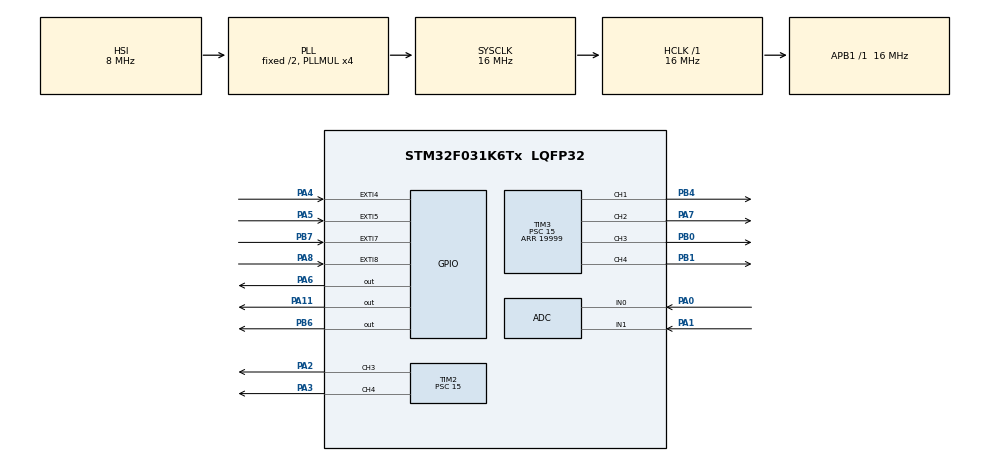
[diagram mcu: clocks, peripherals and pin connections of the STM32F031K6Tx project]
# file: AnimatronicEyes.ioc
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ADC.ContinuousConvMode=ENABLE
ADC.DMAContinuousRequests=ENABLE
ADC.EOCSelection=ADC_EOC_SEQ_CONV
ADC.SamplingTime=ADC_SAMPLETIME_239CYCLES_5
Dma.ADC.0.Direction=DMA_PERIPH_TO_MEMORY
Dma.ADC.0.Instance=DMA1_Channel1
Dma.ADC.0.MemDataAlignment=DMA_MDATAALIGN_HALFWORD
Dma.ADC.0.MemInc=DMA_MINC_ENABLE
Dma.ADC.0.Mode=DMA_CIRCULAR
Dma.ADC.0.PeriphDataAlignment=DMA_PDATAALIGN_HALFWORD
Dma.ADC.0.PeriphInc=DMA_PINC_DISABLE
Dma.ADC.0.Priority=DMA_PRIORITY_MEDIUM
Dma.Request0=ADC
Mcu.Family=STM32F0
Mcu.Name=STM32F031K6Tx
Mcu.Package=LQFP32
NVIC.ADC1_IRQn=true\:0\:0\:false\:false\:true\:true\:true\:true
NVIC.DMA1_Channel1_IRQn=true\:0\:0\:false\:false\:true\:false\:true\:true
NVIC.EXTI4_15_IRQn=true\:0\:0\:false\:false\:true\:true\:true\:true
NVIC.TIM16_IRQn=true\:0\:0\:false\:false\:true\:true\:true\:true
NVIC.TIM1_BRK_UP_TRG_COM_IRQn=true\:0\:0\:false\:false\:true\:true\:true\:true
NVIC.TIM1_CC_IRQn=true\:0\:0\:false\:false\:true\:true\:true\:true
NVIC.TIM2_IRQn=true\:0\:0\:false\:false\:true\:true\:true\:true
PA0.Signal=SharedAnalog_PA0
PA1.Signal=SharedAnalog_PA1
PA11.Signal=GPIO_Output
PA13.Mode=Serial_Wire
PA13.Signal=SYS_SWDIO
PA14.Mode=Serial_Wire
PA14.Signal=SYS_SWCLK
PA2.Signal=S_TIM2_CH3
PA3.Signal=S_TIM2_CH4
PA4.GPIO_ModeDefaultEXTI=GPIO_MODE_IT_RISING_FALLING
PA4.Signal=GPXTI4
PA5.GPIO_ModeDefaultEXTI=GPIO_MODE_IT_RISING_FALLING
PA5.Signal=GPXTI5
PA6.Signal=GPIO_Output
PA7.Signal=S_TIM3_CH2
PA8.GPIO_ModeDefaultEXTI=GPIO_MODE_IT_FALLING
PA8.GPIO_PuPd=GPIO_PULLUP
PA8.Signal=GPXTI8
PB0.Signal=S_TIM3_CH3
PB1.Signal=S_TIM3_CH4
PB4.Signal=S_TIM3_CH1
PB6.Signal=GPIO_Output
PB7.Signal=GPXTI7
PF0-OSC_IN.Mode=HSE-External-Oscillator
PF0-OSC_IN.Signal=RCC_OSC_IN
PF1-OSC_OUT.Mode=HSE-External-Oscillator
PF1-OSC_OUT.Signal=RCC_OSC_OUT
ProjectManager.HeapSize=0x200
ProjectManager.StackSize=0x400
ProjectManager.TargetToolchain=STM32CubeIDE
RCC.AHBFreq_Value=16000000
RCC.APB1Freq_Value=16000000
RCC.APB1TimFreq_Value=16000000
RCC.HCLKFreq_Value=16000000
RCC.PLLMUL=RCC_PLL_MUL4
RCC.SYSCLKFreq_VALUE=16000000
RCC.SYSCLKSource=RCC_SYSCLKSOURCE_PLLCLK
SH.S_TIM2_CH3.0=TIM2_CH3,PWM Generation3 CH3
SH.S_TIM2_CH4.0=TIM2_CH4,PWM Generation4 CH4
SH.S_TIM3_CH1.0=TIM3_CH1,PWM Generation1 CH1
SH.S_TIM3_CH2.0=TIM3_CH2,PWM Generation2 CH2
SH.S_TIM3_CH3.0=TIM3_CH3,PWM Generation3 CH3
SH.S_TIM3_CH4.0=TIM3_CH4,PWM Generation4 CH4
SH.SharedAnalog_PA0.0=GPIO_Analog
SH.SharedAnalog_PA0.1=ADC_IN0,IN0
SH.SharedAnalog_PA1.0=GPIO_Analog
SH.SharedAnalog_PA1.1=ADC_IN1,IN1
TIM1.Period=65535
TIM1.Prescaler=15
TIM14.Prescaler=15
TIM16.AutoReloadPreload=TIM_AUTORELOAD_PRELOAD_ENABLE
TIM16.Period=65535
TIM16.Prescaler=15
TIM17.AutoReloadPreload=TIM_AUTORELOAD_PRELOAD_ENABLE
TIM17.Channel=TIM_CHANNEL_1
TIM17.Period=0xffff
TIM17.Prescaler=15
TIM2.Channel-PWM\ Generation3\ CH3=TIM_CHANNEL_3
TIM2.Channel-PWM\ Generation4\ CH4=TIM_CHANNEL_4
TIM2.Period=19999
TIM2.Prescaler=15
TIM3.Channel-PWM\ Generation1\ CH1=TIM_CHANNEL_1
TIM3.Channel-PWM\ Generation2\ CH2=TIM_CHANNEL_2
TIM3.Channel-PWM\ Generation3\ CH3=TIM_CHANNEL_3
TIM3.Channel-PWM\ Generation4\ CH4=TIM_CHANNEL_4
TIM3.Period=19999
TIM3.Prescaler=15
VP_TIM14_VS_ClockSourceINT.Mode=Enable_Timer
VP_TIM16_VS_ClockSourceINT.Mode=Enable_Timer
VP_TIM17_VS_ClockSourceINT.Mode=Enable_Timer
VP_TIM1_VS_ClockSourceINT.Mode=Internal
VP_TIM2_VS_ClockSourceINT.Mode=Internal
board=custom

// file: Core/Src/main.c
/* USER CODE BEGIN Header */
/**
 ******************************************************************************
 * @file           : main.c
 * @brief          : Main program body
 ******************************************************************************
 * @attention
 *
 * Copyright (c) 2025 STMicroelectronics.
 * All rights reserved.
 *
 * This software is licensed under terms that can be found in the LICENSE file
 * in the root directory of this software component.
 * If no LICENSE file comes with this software, it is provided AS-IS.
 *
 ******************************************************************************
 */
/* USER CODE END Header */
#include "main.h"

/* USER CODE BEGIN PD */
#define TRIG1_PIN GPIO_PIN_6
#define TRIG1_PORT GPIOA
#define ECHO1_PIN GPIO_PIN_4
#define ECHO1_PORT GPIOA

#define TRIG2_PIN GPIO_PIN_7
#define TRIG2_PORT GPIOA
#define ECHO2_PIN GPIO_PIN_12
#define ECHO2_PORT GPIOA
#define SW_Pin GPIO_PIN_8

/* USER CODE END PD */

ADC_HandleTypeDef hadc;
DMA_HandleTypeDef hdma_adc;

TIM_HandleTypeDef htim1;
TIM_HandleTypeDef htim2;
TIM_HandleTypeDef htim3;
TIM_HandleTypeDef htim14;
TIM_HandleTypeDef htim16;
TIM_HandleTypeDef htim17;

/* USER CODE BEGIN PV */
volatile uint32_t start_time_1 = 0;
volatile uint32_t stop_time_1 = 0;
volatile uint8_t measurement_done_1 = 0;
float distance_cm_1 = 0;

volatile uint32_t start_time_2 = 0;
volatile uint32_t stop_time_2 = 0;
volatile uint8_t measurement_done_2 = 0;
float distance_cm_2 = 0;

typedef enum {
	STATE_RANDOM_MOVEMENT, STATE_MANUAL_CONTROL, SOLA_BAK, SAGA_BAK
} ControlState_TypeDef;

volatile ControlState_TypeDef current_state = STATE_RANDOM_MOVEMENT;

typedef struct {
	float sol;
	float sag;
} MesafeSonucu;

// ADC DMA Buffer (ADC 12-bit ise uint16_t)
#define ADC_NUM_CHANNELS 2
volatile uint16_t adc_dma_buffer[ADC_NUM_CHANNELS]; // X için [0], Y için [1]

// İşlenmiş (ham) ADC değerleri
volatile uint16_t adc_raw_x = 0; // DMA buffer'dan okunan değerler uint16_t
volatile uint16_t adc_raw_y = 0;

// Servo için hesaplanmış PWM değerleri
uint16_t pwm_x_value = 1500;
uint16_t pwm_y_value = 1500;

// Kullanıcı etkileşimi
uint32_t last_significant_user_input_time = 0;
const uint32_t IDLE_TIMEOUT_TO_RANDOM_MS = 1000;

// Değişiklik tespiti
uint16_t prev_adc_x_for_detect = 0; // ADC değerleri uint16_t olduğu için
uint16_t prev_adc_y_for_detect = 0;
const uint16_t ADC_NOISE_THRESHOLD = 200; // uint16_t ADC değerleri için eşik

volatile int joystick_pressed;

////////////////

/* USER CODE END PV */

void SystemClock_Config(void);
static void MX_GPIO_Init(void);
static void MX_DMA_Init(void);
static void MX_ADC_Init(void);
static void MX_TIM2_Init(void);
static void MX_TIM3_Init(void);
static void MX_TIM14_Init(void);
static void MX_TIM16_Init(void);
static void MX_TIM17_Init(void);
static void MX_TIM1_Init(void);

/* USER CODE BEGIN 0 */
void HAL_ADC_ConvCpltCallback(ADC_HandleTypeDef *hadc_ptr) {
	// Bu callback DMA tarafından tetiklenir (ADC->DMA ilişkisi doğru ayarlandıysa
	// ve ADC Continuous + DMA Circular modda ise)
	if (hadc_ptr->Instance == ADC1) { // ADC1 kullandığınızı varsayıyorum
		// DMA buffer'dan değerleri global değişkenlere al
		adc_raw_x = adc_dma_buffer[0]; // İlk kanal (Rank 1 - X ekseni)
		adc_raw_y = adc_dma_buffer[1]; // İkinci kanal (Rank 2 - Y ekseni)

		// Joystick'te anlamlı bir değişiklik var mı kontrol et
		// abs() için <stdlib.h> gerekir
		uint8_t x_changed = abs(
				(int16_t) adc_raw_x - (int16_t) prev_adc_x_for_detect)
				> ADC_NOISE_THRESHOLD;
		uint8_t y_changed = abs(
				(int16_t) adc_raw_y - (int16_t) prev_adc_y_for_detect)
				> ADC_NOISE_THRESHOLD;

		if (x_changed || y_changed) {
			if (x_changed) {
				prev_adc_x_for_detect = adc_raw_x;
			}
			if (y_changed) {
				prev_adc_y_for_detect = adc_raw_y;
			}

			current_state = STATE_MANUAL_CONTROL;
			last_significant_user_input_time = HAL_GetTick();
			pwm_x_value = ((adc_raw_x * 1100UL) / 4095UL) + 1300;
			if (pwm_x_value < 1300)
				pwm_x_value = 1300;
			if (pwm_x_value > 2400)
				pwm_x_value = 2400;

			// Y ekseni için PWM hesapla (1200-1500 aralığı)
			// Maksimum PWM - Minimum PWM = 1500 - 1200 = 300
			pwm_y_value = ((adc_raw_y * 550UL) / 4095UL) + 900;
			if (pwm_y_value < 900)
				pwm_y_value = 900;
			if (pwm_y_value > 1450)
				pwm_y_value = 1450;
		}
		// ADC sürekli modda ve DMA circular modda olduğu için,

	}
}

void trigger_sensor(GPIO_TypeDef *port, uint16_t pin) {
	HAL_GPIO_WritePin(port, pin, GPIO_PIN_SET);
	delay_us(10);
	HAL_GPIO_WritePin(port, pin, GPIO_PIN_RESET);
}

void delay_us(uint16_t us) {
	__HAL_TIM_SET_COUNTER(&htim1, 0);  // Sayaç sıfırla
	HAL_TIM_Base_Start(&htim1);        // Timer başlat

	while (__HAL_TIM_GET_COUNTER(&htim1) < us)
		; // Belirtilen süreyi bekle

	HAL_TIM_Base_Stop(&htim1);         // Timer durdur (isteğe bağlı)
}
void HAL_GPIO_EXTI_Callback(uint16_t GPIO_Pin) {
	static uint32_t last_interrupt_time = 0;
	uint32_t current_time = HAL_GetTick();

	if (GPIO_Pin == SW_Pin && (current_time - last_interrupt_time > 50)) // 50ms debounce
			{
		if (HAL_GPIO_ReadPin(GPIOA, SW_Pin) == GPIO_PIN_RESET) {
			joystick_pressed = 1;
		}
		last_interrupt_time = current_time;
	}

	if (GPIO_Pin == ECHO1_PIN) {
		if (HAL_GPIO_ReadPin(ECHO1_PORT, ECHO1_PIN) == GPIO_PIN_SET) {
			__HAL_TIM_SET_COUNTER(&htim17, 0);
			start_time_1 = __HAL_TIM_GET_COUNTER(&htim17);
		} else {
			stop_time_1 = __HAL_TIM_GET_COUNTER(&htim17);
			//HAL_TIM_Base_Stop(&htim17);
			measurement_done_1 = 1;
		}
	}
}

uint16_t get_random_positionX(void) {
	static const uint16_t values[] = { 1300, 1400, 1500, 1600, 1700, 1800, 1900,
			2000, 2100, 2200, 2300, 2400 };
	const uint8_t num_values = sizeof(values) / sizeof(values[0]);

	// rand() % num_values ifadesi 0 ile num_values-1 arasında sayı üretir
	uint8_t index = rand() % num_values;

	return values[index];
}

uint16_t get_random_positionY(void) {
	static const uint16_t values[] = { 900, 950, 1000, 1050, 1100, 1150, 1200,
			1250, 1300, 1350, 1400, 1450 };
	const uint8_t num_values = sizeof(values) / sizeof(values[0]);

	// rand() % num_values ifadesi 0 ile num_values-1 arasında sayı üretir
	uint8_t index = rand() % num_values;

	return values[index];
}

uint8_t get_random_time(void) {
	return (rand() % 1) + 1;
}

void movement(void) {
	TIM3->CCR3 = get_random_positionX();
	HAL_Delay(get_random_time() * 700);

	TIM3->CCR4 = get_random_positionY();
	HAL_Delay(get_random_time() * 700);

	trigger_sensor(TRIG1_PORT, TRIG1_PIN);

			if (measurement_done_1) {
				measurement_done_1 = 0;
				distance_cm_1 = (stop_time_1 - start_time_1) / 58.0f;
			}

}

void eyelid_movement() {
	TIM3->CCR1 = 1800; // Sağ üst göz
	TIM2->CCR4 = 1200; // Sol üst göz
	TIM3->CCR2 = 1550; // Sağ Alt
	TIM2->CCR3 = 800; // Sol alt

	HAL_Delay(220);
	TIM3->CCR1 = 2250;
	TIM2->CCR4 = 650;
	TIM3->CCR2 = 1250; // Sağ Alt
	TIM2->CCR3 = 1100;
	HAL_Delay(220);
}

void blink() {
	int random = (rand() % 2) + 1;
	if (random == 1) {
		TIM3->CCR1 = 1800; // Sağ üst göz
		TIM3->CCR2 = 1550; // Sağ Alt
		HAL_Delay(220);
		TIM3->CCR1 = 2250;
		TIM3->CCR2 = 1250; // Sağ Alt
	} else {
		TIM2->CCR4 = 1200; // Sol üst göz
		TIM2->CCR3 = 800; // Sol alt
		HAL_Delay(220);
		TIM2->CCR4 = 650;
		TIM2->CCR3 = 1100;
	}
}

/* USER CODE END 0 */

int main(void) {

	/* MCU Configuration--------------------------------------------------------*/

	/* Reset of all peripherals, Initializes the Flash interface and the Systick. */
	HAL_Init();

	/* Configure the system clock */
	SystemClock_Config();

	/* Initialize all configured peripherals */
	MX_GPIO_Init();
	MX_DMA_Init();
	MX_ADC_Init();
	MX_TIM2_Init();
	MX_TIM3_Init();
	MX_TIM14_Init();
	MX_TIM16_Init();
	MX_TIM17_Init();
	MX_TIM1_Init();
	/* USER CODE BEGIN 2 */
	// MESAFE İÇİN
	//HAL_TIM_Base_Start(&htim2); // Timer başlatılıyor
	// TRIG pinini bir defa sıfırla
	HAL_GPIO_WritePin(GPIOB, GPIO_PIN_6, GPIO_PIN_RESET);
	HAL_Delay(50); // Stabilite için küçük bir gecikme
	/////////////////////////////////////
	HAL_TIM_PWM_Start(&htim2, TIM_CHANNEL_4);
	HAL_TIM_PWM_Start(&htim2, TIM_CHANNEL_3);
	HAL_TIM_PWM_Start(&htim3, TIM_CHANNEL_2);
	HAL_TIM_PWM_Start(&htim3, TIM_CHANNEL_1);
	HAL_TIM_PWM_Start(&htim3, TIM_CHANNEL_3); // X ekseni servosu için timer başlatılır.
	HAL_TIM_PWM_Start(&htim3, TIM_CHANNEL_4);

	HAL_TIM_PWM_Start(&htim16, TIM_CHANNEL_1);
	HAL_TIM_PWM_Start(&htim1, TIM_CHANNEL_4);

	HAL_TIM_Base_Start(&htim14);
	HAL_TIM_Base_Start(&htim16);
	HAL_TIM_Base_Start(&htim1);
	HAL_TIM_Base_Start_IT(&htim1);

	HAL_TIM_Base_Start(&htim17);

	srand(HAL_GetTick());

	// İlk ADC çevrimini başlat
	/*if (HAL_ADC_Start_IT(&hadc) != HAL_OK) {
	 Error_Handler();
	 }*/

	// ADC kalibrasyonu
	if (HAL_ADCEx_Calibration_Start(&hadc) != HAL_OK) { // hadc1 sizin ADC handle'ınız
		Error_Handler();
	}

	// ADC'yi DMA ile başlat
	if (HAL_ADC_Start_DMA(&hadc, (uint16_t*) adc_dma_buffer, ADC_NUM_CHANNELS)
			!= HAL_OK) {
		Error_Handler();
	}

	// İlk değerlerin callback tarafından atanmasını bekle ve prev değerleri ayarla
	HAL_Delay(10); // Callback'in en az bir kez çalışması için kısa bekleme
	prev_adc_x_for_detect = adc_raw_x; // Callback global değişkenleri güncelledi
	prev_adc_y_for_detect = adc_raw_y;

	last_significant_user_input_time = HAL_GetTick();
	current_state = STATE_RANDOM_MOVEMENT;
	__HAL_TIM_SET_COMPARE(&htim3, TIM_CHANNEL_3, 1800); // X servosu ortaya
	__HAL_TIM_SET_COMPARE(&htim3, TIM_CHANNEL_4, 1350); // Y SERVOSU
	//__HAL_TIM_SET_COMPARE(&htim3, TIM_CHANNEL_1, 2200);

	__HAL_TIM_SET_COMPARE(&htim3, TIM_CHANNEL_2, 1200); // Sağ alt AÇIK
	__HAL_TIM_SET_COMPARE(&htim3, TIM_CHANNEL_1, 2250); // SAĞ ÜST
	__HAL_TIM_SET_COMPARE(&htim2, TIM_CHANNEL_4, 650); // SOL ÜST
	__HAL_TIM_SET_COMPARE(&htim2, TIM_CHANNEL_3, 1100); // SOL ALT

	/* USER CODE END 2 */

	/* Infinite loop */
	/* USER CODE BEGIN WHILE */
	uint32_t last_distance_measure_time = 0;
	const uint32_t distance_measure_interval = 150;
	uint32_t last_trigger_time = 0;
	uint8_t current_sensor = 1;

	while (1) {
		/* USER CODE END WHILE */

		/* USER CODE BEGIN 3 */
		if (joystick_pressed) {
						joystick_pressed = 0;
						blink();
					}

		switch (current_state) {
		case STATE_MANUAL_CONTROL:
			__HAL_TIM_SET_COMPARE(&htim3, TIM_CHANNEL_3, pwm_x_value);
			__HAL_TIM_SET_COMPARE(&htim3, TIM_CHANNEL_4, pwm_y_value);

			if (HAL_GetTick() - last_significant_user_input_time
					> IDLE_TIMEOUT_TO_RANDOM_MS) {
				current_state = STATE_RANDOM_MOVEMENT;
			}
			break;

		case STATE_RANDOM_MOVEMENT:
			movement();
			if (rand() % 5 == 0) { // %20 ihtimalle göz kırp
				eyelid_movement();
			}

			break;
		case SOLA_BAK:
			__HAL_TIM_SET_COMPARE(&htim3, TIM_CHANNEL_3, 1300);
			__HAL_TIM_SET_COMPARE(&htim3, TIM_CHANNEL_4, 1450);
			//current_state = STATE_RANDOM_MOVEMENT;
			break;
		case SAGA_BAK:
			__HAL_TIM_SET_COMPARE(&htim3, TIM_CHANNEL_3, 2400);
			__HAL_TIM_SET_COMPARE(&htim3, TIM_CHANNEL_4, 1450);
			//current_state = STATE_RANDOM_MOVEMENT;
			break;

		default:
			current_state = STATE_RANDOM_MOVEMENT;
			break;
		}

	}
	/* USER CODE END 3 */
}

void SystemClock_Config(void) {
	RCC_OscInitTypeDef RCC_OscInitStruct = { 0 };
	RCC_ClkInitTypeDef RCC_ClkInitStruct = { 0 };

	/** Initializes the RCC Oscillators according to the specified parameters
	 * in the RCC_OscInitTypeDef structure.
	 */
	RCC_OscInitStruct.OscillatorType = RCC_OSCILLATORTYPE_HSI
			| RCC_OSCILLATORTYPE_HSI14;
	RCC_OscInitStruct.HSIState = RCC_HSI_ON;
	RCC_OscInitStruct.HSI14State = RCC_HSI14_ON;
	RCC_OscInitStruct.HSICalibrationValue = RCC_HSICALIBRATION_DEFAULT;
	RCC_OscInitStruct.HSI14CalibrationValue = 16;
	RCC_OscInitStruct.PLL.PLLState = RCC_PLL_ON;
	RCC_OscInitStruct.PLL.PLLSource = RCC_PLLSOURCE_HSI;
	RCC_OscInitStruct.PLL.PLLMUL = RCC_PLL_MUL4;
	RCC_OscInitStruct.PLL.PREDIV = RCC_PREDIV_DIV1;
	if (HAL_RCC_OscConfig(&RCC_OscInitStruct) != HAL_OK) {
		Error_Handler();
	}

	/** Initializes the CPU, AHB and APB buses clocks
	 */
	RCC_ClkInitStruct.ClockType = RCC_CLOCKTYPE_HCLK | RCC_CLOCKTYPE_SYSCLK
			| RCC_CLOCKTYPE_PCLK1;
	RCC_ClkInitStruct.SYSCLKSource = RCC_SYSCLKSOURCE_PLLCLK;
	RCC_ClkInitStruct.AHBCLKDivider = RCC_SYSCLK_DIV1;
	RCC_ClkInitStruct.APB1CLKDivider = RCC_HCLK_DIV1;

	if (HAL_RCC_ClockConfig(&RCC_ClkInitStruct, FLASH_LATENCY_0) != HAL_OK) {
		Error_Handler();
	}
}

static void MX_ADC_Init(void) {

	ADC_ChannelConfTypeDef sConfig = { 0 };

	/** Configure the global features of the ADC (Clock, Resolution, Data Alignment and number of conversion)
	 */
	hadc.Instance = ADC1;
	hadc.Init.ClockPrescaler = ADC_CLOCK_ASYNC_DIV1;
	hadc.Init.Resolution = ADC_RESOLUTION_12B;
	hadc.Init.DataAlign = ADC_DATAALIGN_RIGHT;
	hadc.Init.ScanConvMode = ADC_SCAN_DIRECTION_FORWARD;
	hadc.Init.EOCSelection = ADC_EOC_SEQ_CONV;
	hadc.Init.LowPowerAutoWait = DISABLE;
	hadc.Init.LowPowerAutoPowerOff = DISABLE;
	hadc.Init.ContinuousConvMode = ENABLE;
	hadc.Init.DiscontinuousConvMode = DISABLE;
	hadc.Init.ExternalTrigConv = ADC_SOFTWARE_START;
	hadc.Init.ExternalTrigConvEdge = ADC_EXTERNALTRIGCONVEDGE_NONE;
	hadc.Init.DMAContinuousRequests = ENABLE;
	hadc.Init.Overrun = ADC_OVR_DATA_PRESERVED;
	if (HAL_ADC_Init(&hadc) != HAL_OK) {
		Error_Handler();
	}

	/** Configure for the selected ADC regular channel to be converted.
	 */
	sConfig.Channel = ADC_CHANNEL_0;
	sConfig.Rank = ADC_RANK_CHANNEL_NUMBER;
	sConfig.SamplingTime = ADC_SAMPLETIME_239CYCLES_5;
	if (HAL_ADC_ConfigChannel(&hadc, &sConfig) != HAL_OK) {
		Error_Handler();
	}

	/** Configure for the selected ADC regular channel to be converted.
	 */
	sConfig.Channel = ADC_CHANNEL_1;
	if (HAL_ADC_ConfigChannel(&hadc, &sConfig) != HAL_OK) {
		Error_Handler();
	}

}

static void MX_TIM1_Init(void) {

	TIM_ClockConfigTypeDef sClockSourceConfig = { 0 };
	TIM_MasterConfigTypeDef sMasterConfig = { 0 };

	htim1.Instance = TIM1;
	htim1.Init.Prescaler = 15;
	htim1.Init.CounterMode = TIM_COUNTERMODE_UP;
	htim1.Init.Period = 65535;
	htim1.Init.ClockDivision = TIM_CLOCKDIVISION_DIV1;
	htim1.Init.RepetitionCounter = 0;
	htim1.Init.AutoReloadPreload = TIM_AUTORELOAD_PRELOAD_DISABLE;
	if (HAL_TIM_Base_Init(&htim1) != HAL_OK) {
		Error_Handler();
	}
	sClockSourceConfig.ClockSource = TIM_CLOCKSOURCE_INTERNAL;
	if (HAL_TIM_ConfigClockSource(&htim1, &sClockSourceConfig) != HAL_OK) {
		Error_Handler();
	}
	sMasterConfig.MasterOutputTrigger = TIM_TRGO_RESET;
	sMasterConfig.MasterSlaveMode = TIM_MASTERSLAVEMODE_DISABLE;
	if (HAL_TIMEx_MasterConfigSynchronization(&htim1, &sMasterConfig)
			!= HAL_OK) {
		Error_Handler();
	}

}

static void MX_TIM2_Init(void) {

	TIM_ClockConfigTypeDef sClockSourceConfig = { 0 };
	TIM_MasterConfigTypeDef sMasterConfig = { 0 };
	TIM_OC_InitTypeDef sConfigOC = { 0 };

	htim2.Instance = TIM2;
	htim2.Init.Prescaler = 15;
	htim2.Init.CounterMode = TIM_COUNTERMODE_UP;
	htim2.Init.Period = 19999;
	htim2.Init.ClockDivision = TIM_CLOCKDIVISION_DIV1;
	htim2.Init.AutoReloadPreload = TIM_AUTORELOAD_PRELOAD_DISABLE;
	if (HAL_TIM_Base_Init(&htim2) != HAL_OK) {
		Error_Handler();
	}
	sClockSourceConfig.ClockSource = TIM_CLOCKSOURCE_INTERNAL;
	if (HAL_TIM_ConfigClockSource(&htim2, &sClockSourceConfig) != HAL_OK) {
		Error_Handler();
	}
	if (HAL_TIM_PWM_Init(&htim2) != HAL_OK) {
		Error_Handler();
	}
	sMasterConfig.MasterOutputTrigger = TIM_TRGO_RESET;
	sMasterConfig.MasterSlaveMode = TIM_MASTERSLAVEMODE_DISABLE;
	if (HAL_TIMEx_MasterConfigSynchronization(&htim2, &sMasterConfig)
			!= HAL_OK) {
		Error_Handler();
	}
	sConfigOC.OCMode = TIM_OCMODE_PWM1;
	sConfigOC.Pulse = 0;
	sConfigOC.OCPolarity = TIM_OCPOLARITY_HIGH;
	sConfigOC.OCFastMode = TIM_OCFAST_DISABLE;
	if (HAL_TIM_PWM_ConfigChannel(&htim2, &sConfigOC, TIM_CHANNEL_3)
			!= HAL_OK) {
		Error_Handler();
	}
	if (HAL_TIM_PWM_ConfigChannel(&htim2, &sConfigOC, TIM_CHANNEL_4)
			!= HAL_OK) {
		Error_Handler();
	}
	HAL_TIM_MspPostInit(&htim2);

}

static void MX_TIM3_Init(void) {

	TIM_MasterConfigTypeDef sMasterConfig = { 0 };
	TIM_OC_InitTypeDef sConfigOC = { 0 };

	htim3.Instance = TIM3;
	htim3.Init.Prescaler = 15;
	htim3.Init.CounterMode = TIM_COUNTERMODE_UP;
	htim3.Init.Period = 19999;
	htim3.Init.ClockDivision = TIM_CLOCKDIVISION_DIV1;
	htim3.Init.AutoReloadPreload = TIM_AUTORELOAD_PRELOAD_DISABLE;
	if (HAL_TIM_PWM_Init(&htim3) != HAL_OK) {
		Error_Handler();
	}
	sMasterConfig.MasterOutputTrigger = TIM_TRGO_RESET;
	sMasterConfig.MasterSlaveMode = TIM_MASTERSLAVEMODE_DISABLE;
	if (HAL_TIMEx_MasterConfigSynchronization(&htim3, &sMasterConfig)
			!= HAL_OK) {
		Error_Handler();
	}
	sConfigOC.OCMode = TIM_OCMODE_PWM1;
	sConfigOC.Pulse = 0;
	sConfigOC.OCPolarity = TIM_OCPOLARITY_HIGH;
	sConfigOC.OCFastMode = TIM_OCFAST_DISABLE;
	if (HAL_TIM_PWM_ConfigChannel(&htim3, &sConfigOC, TIM_CHANNEL_1)
			!= HAL_OK) {
		Error_Handler();
	}
	if (HAL_TIM_PWM_ConfigChannel(&htim3, &sConfigOC, TIM_CHANNEL_2)
			!= HAL_OK) {
		Error_Handler();
	}
	if (HAL_TIM_PWM_ConfigChannel(&htim3, &sConfigOC, TIM_CHANNEL_3)
			!= HAL_OK) {
		Error_Handler();
	}
	if (HAL_TIM_PWM_ConfigChannel(&htim3, &sConfigOC, TIM_CHANNEL_4)
			!= HAL_OK) {
		Error_Handler();
	}
	HAL_TIM_MspPostInit(&htim3);

}

static void MX_TIM14_Init(void) {

	htim14.Instance = TIM14;
	htim14.Init.Prescaler = 15;
	htim14.Init.CounterMode = TIM_COUNTERMODE_UP;
	htim14.Init.Period = 65535;
	htim14.Init.ClockDivision = TIM_CLOCKDIVISION_DIV1;
	htim14.Init.AutoReloadPreload = TIM_AUTORELOAD_PRELOAD_DISABLE;
	if (HAL_TIM_Base_Init(&htim14) != HAL_OK) {
		Error_Handler();
	}

}

static void MX_TIM16_Init(void) {

	htim16.Instance = TIM16;
	htim16.Init.Prescaler = 15;
	htim16.Init.CounterMode = TIM_COUNTERMODE_UP;
	htim16.Init.Period = 65535;
	htim16.Init.ClockDivision = TIM_CLOCKDIVISION_DIV1;
	htim16.Init.RepetitionCounter = 0;
	htim16.Init.AutoReloadPreload = TIM_AUTORELOAD_PRELOAD_ENABLE;
	if (HAL_TIM_Base_Init(&htim16) != HAL_OK) {
		Error_Handler();
	}

}

static void MX_TIM17_Init(void) {

	htim17.Instance = TIM17;
	htim17.Init.Prescaler = 15;
	htim17.Init.CounterMode = TIM_COUNTERMODE_UP;
	htim17.Init.Period = 0xffff;
	htim17.Init.ClockDivision = TIM_CLOCKDIVISION_DIV1;
	htim17.Init.RepetitionCounter = 0;
	htim17.Init.AutoReloadPreload = TIM_AUTORELOAD_PRELOAD_ENABLE;
	if (HAL_TIM_Base_Init(&htim17) != HAL_OK) {
		Error_Handler();
	}

}

static void MX_DMA_Init(void) {

	/* DMA controller clock enable */
	__HAL_RCC_DMA1_CLK_ENABLE();

	/* DMA interrupt init */
	/* DMA1_Channel1_IRQn interrupt configuration */
	HAL_NVIC_SetPriority(DMA1_Channel1_IRQn, 0, 0);
	HAL_NVIC_EnableIRQ(DMA1_Channel1_IRQn);

}

static void MX_GPIO_Init(void) {
	GPIO_InitTypeDef GPIO_InitStruct = { 0 };

	/* GPIO Ports Clock Enable */
	__HAL_RCC_GPIOF_CLK_ENABLE();
	__HAL_RCC_GPIOA_CLK_ENABLE();
	__HAL_RCC_GPIOB_CLK_ENABLE();

	/*Configure GPIO pin Output Level */
	HAL_GPIO_WritePin(GPIOA, GPIO_PIN_6 | GPIO_PIN_11, GPIO_PIN_RESET);

	/*Configure GPIO pin Output Level */
	HAL_GPIO_WritePin(GPIOB, GPIO_PIN_6, GPIO_PIN_RESET);

	/*Configure GPIO pins : PA4 PA5 */
	GPIO_InitStruct.Pin = GPIO_PIN_4 | GPIO_PIN_5;
	GPIO_InitStruct.Mode = GPIO_MODE_IT_RISING_FALLING;
	GPIO_InitStruct.Pull = GPIO_NOPULL;
	HAL_GPIO_Init(GPIOA, &GPIO_InitStruct);

	/*Configure GPIO pins : PA6 PA11 */
	GPIO_InitStruct.Pin = GPIO_PIN_6 | GPIO_PIN_11;
	GPIO_InitStruct.Mode = GPIO_MODE_OUTPUT_PP;
	GPIO_InitStruct.Pull = GPIO_NOPULL;
	GPIO_InitStruct.Speed = GPIO_SPEED_FREQ_LOW;
	HAL_GPIO_Init(GPIOA, &GPIO_InitStruct);

	/*Configure GPIO pin : PA8 */
	GPIO_InitStruct.Pin = GPIO_PIN_8;
	GPIO_InitStruct.Mode = GPIO_MODE_IT_FALLING;
	GPIO_InitStruct.Pull = GPIO_PULLUP;
	HAL_GPIO_Init(GPIOA, &GPIO_InitStruct);

	/*Configure GPIO pin : PB6 */
	GPIO_InitStruct.Pin = GPIO_PIN_6;
	GPIO_InitStruct.Mode = GPIO_MODE_OUTPUT_PP;
	GPIO_InitStruct.Pull = GPIO_NOPULL;
	GPIO_InitStruct.Speed = GPIO_SPEED_FREQ_LOW;
	HAL_GPIO_Init(GPIOB, &GPIO_InitStruct);

	/*Configure GPIO pin : PB7 */
	GPIO_InitStruct.Pin = GPIO_PIN_7;
	GPIO_InitStruct.Mode = GPIO_MODE_IT_RISING;
	GPIO_InitStruct.Pull = GPIO_NOPULL;
	HAL_GPIO_Init(GPIOB, &GPIO_InitStruct);

	/* EXTI interrupt init*/
	HAL_NVIC_SetPriority(EXTI4_15_IRQn, 0, 0);
	HAL_NVIC_EnableIRQ(EXTI4_15_IRQn);

}

void Error_Handler(void) {
	__disable_irq();
	while (1) {
	}
}
